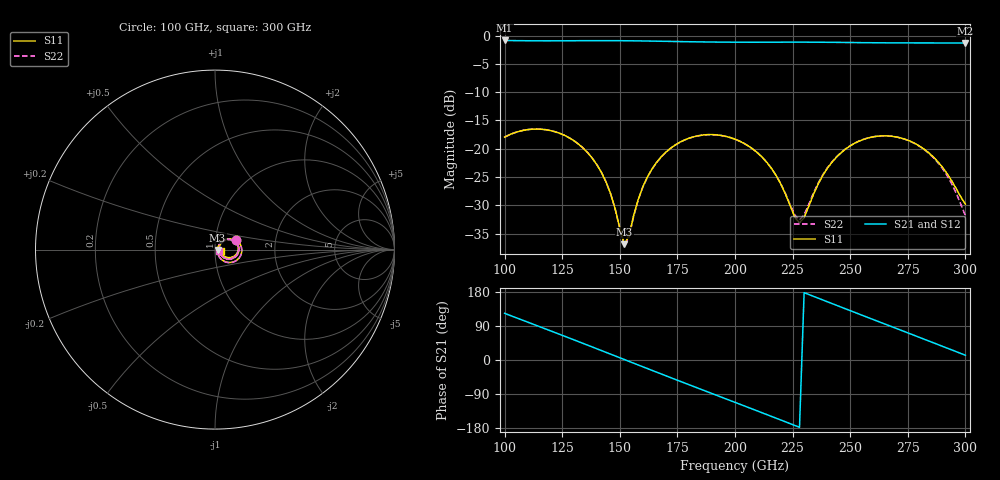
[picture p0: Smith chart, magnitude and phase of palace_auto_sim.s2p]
#  GHZ S DB R 50
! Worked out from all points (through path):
!   101 points, 100 GHz to 300 GHz, reference 50 ohm
!   highest |S21| = -0.87 dB at 100 GHz (marker M1); lowest = -1.3 dB at 300 GHz (marker M2)
!   group delay of S21, straight-line fit = 6.54 ps
!   lowest |S11| = -36.9 dB at 152 GHz (marker M3), VSWR 1.03, Z = 51.4 - j0.285 ohm
!   |S11| at or under -10 dB: start of sweep to end of sweep
!   |S22| runs from -37.2 to -16.5 dB; largest |S21 - S12| = 9.9e-14
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100  -17.95 25.6  -0.87 123.2  -0.87 123.2  -17.94 25.2
116  -16.55 -7.7  -0.93 86.1  -0.93 86.1  -16.54 -8.2
124  -17.29 -24.5  -0.93 67.5  -0.93 67.5  -17.28 -25.0
134  -19.85 -44.5  -0.91 44.0  -0.91 44.0  -19.84 -45.2
144  -25.84 -58.8  -0.90 20.2  -0.90 20.2  -25.83 -59.8
152  -36.90 -11.2  -0.92 1.2  -0.92 1.2  -37.21 -12.6
154  -35.31 27.2  -0.93 -3.6  -0.93 -3.6  -35.57 27.4
160  -26.72 51.5  -0.96 -17.9  -0.96 -17.9  -26.77 51.6
168  -21.42 42.2  -1.01 -36.9  -1.01 -36.9  -21.44 42.1
184  -17.70 12.0  -1.12 -74.5  -1.12 -74.5  -17.71 11.6
200  -18.30 -18.7  -1.17 -111.8  -1.17 -111.8  -18.31 -19.1
214  -22.49 -40.7  -1.18 -144.5  -1.18 -144.5  -22.49 -40.8
228  -33.08 1.7  -1.17 -177.6  -1.17 -177.6  -32.56 1.5
234  -28.12 44.7  -1.17 168.2  -1.17 168.2  -27.88 42.0
240  -23.51 46.6  -1.19 153.9  -1.19 153.9  -23.41 44.1
248  -20.06 35.8  -1.22 135.0  -1.22 135.0  -20.01 33.4
258  -18.07 17.5  -1.26 111.5  -1.26 111.5  -18.05 14.9
268  -17.79 -1.7  -1.29 88.0  -1.29 88.0  -17.78 -4.7
276  -18.66 -16.3  -1.30 69.2  -1.30 69.2  -18.68 -20.1
286  -21.41 -31.5  -1.31 45.7  -1.31 45.7  -21.53 -37.0
294  -25.62 -34.1  -1.32 26.8  -1.32 26.8  -26.14 -42.9
300  -29.79 -14.2  -1.33 12.6  -1.33 12.6  -31.82 -23.9
